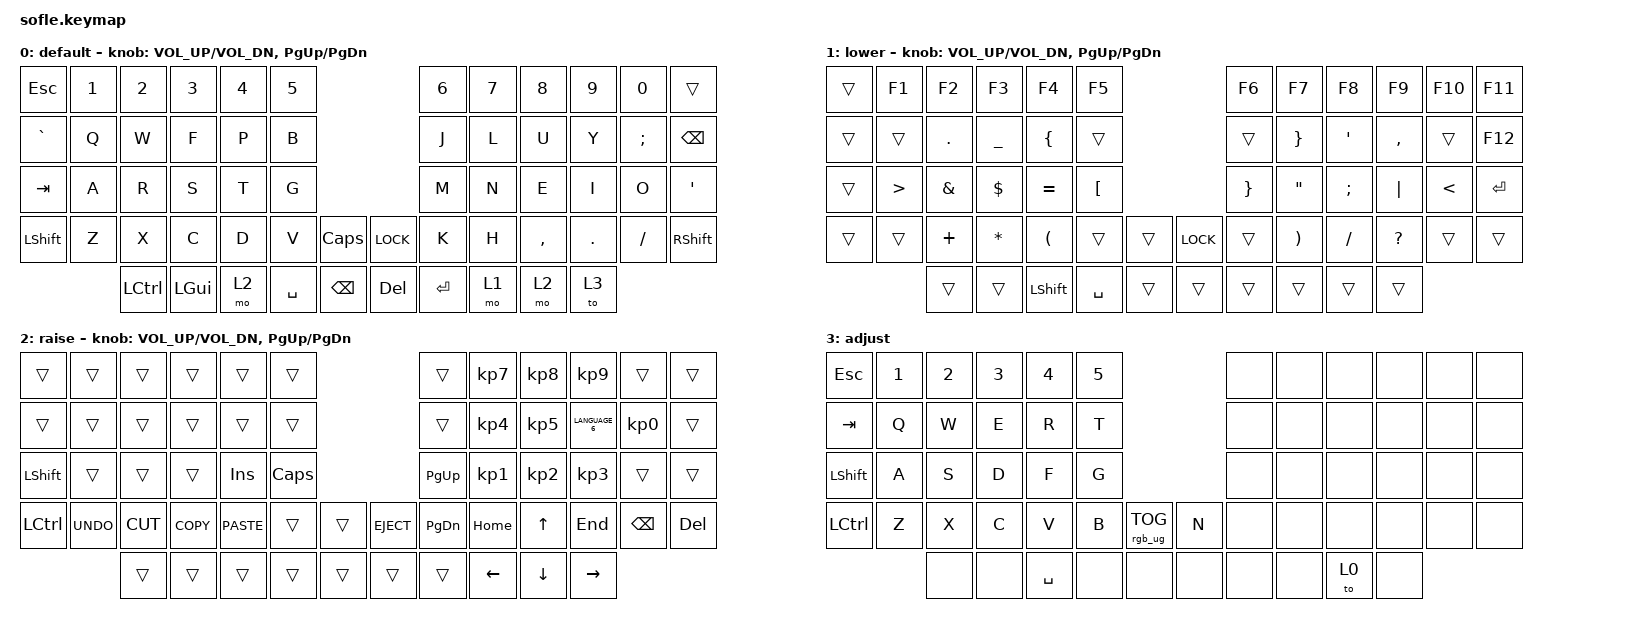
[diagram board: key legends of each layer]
/*
 * Copyright (c) 2020 The ZMK Contributors
 *
 * SPDX-License-Identifier: MIT
 */

#include <behaviors.dtsi>
#include <dt-bindings/zmk/keys.h>
#include <dt-bindings/zmk/rgb.h>

#define BASE 0
#define LOWER 1
#define RAISE 2
#define GAME 3

/ {
    keymap {
        compatible = "zmk,keymap";

        colmakdh {
            display-name = "default";

            // ------------------------------------------------------------------------------------------------------------
            // |   `   |  1  |  2  |  3   |  4   |  5   |                   |  6   |  7    |  8    |  9   |   0   |       |
            // |  ESC  |  Q  |  W  |  E   |  R   |  T   |                   |  Y   |  U    |  I    |  O   |   P   | BKSPC |
            // |  TAB  |  A  |  S  |  D   |  F   |  G   |                   |  H   |  J    |  K    |  L   |   ;   |   '   |
            // | SHIFT |  Z  |  X  |  C   |  V   |  B   |  MUTE  |  |       |  N   |  M    |  ,    |  .   |   /   | SHIFT |
            //               | GUI | ALT  | CTRL | LOWER|  ENTER |  | SPACE | RAISE| CTRL  | ALT   | GUI  |

            bindings = <
&kp ESCAPE      &kp N1  &kp N2     &kp N3    &kp N4  &kp N5                                  &kp N6     &kp N7  &kp N8     &kp N9   &kp N0         &trans
&kp GRAVE       &kp Q   &kp W      &kp F     &kp P   &kp B                                   &kp J      &kp L   &kp U      &kp Y    &kp SEMICOLON  &kp BSPC
&kp TAB         &kp A   &kp R      &kp S     &kp T   &kp G                                   &kp M      &kp N   &kp E      &kp I    &kp O          &kp SQT
&kp LEFT_SHIFT  &kp Z   &kp X      &kp C     &kp D   &kp V      &kp CAPSLOCK     &kp K_LOCK  &kp K      &kp H   &kp COMMA  &kp DOT  &kp FSLH       &kp RSHFT
                        &kp LCTRL  &kp LGUI  &mo 2   &kp SPACE  &kp BACKSPACE    &kp DELETE  &kp ENTER  &mo 1   &mo 2      &to 3
            >;

            sensor-bindings = <&inc_dec_kp C_VOL_UP C_VOL_DN &inc_dec_kp PG_UP PG_DN>;
        };

        prog {
            display-name = "lower";

            // TODO: Some binds are waiting for shifted keycode support.
            // ------------------------------------------------------------------------------------------------------------
            // |       |  F1 |  F2 |  F3  |  F4  |  F5  |                   |  F6  |  F7   |  F8   |  F9  |  F10  |  F11  |
            // |   `   |  1  |  2  |  3   |  4   |  5   |                   |  6   |  7    |  8    |  9   |   0   |  F12  |
            // |       |  !  |  @  |  #   |  $   |  %   |                   |  ^   |  &    |  *    |  (   |   )   |   |   |
            // |       |  =  |  -  |  +   |  {   |  }   |        |  |       |  [   |  ]    |  ;    |  :   |   \   |       |
            //               |     |      |      |      |        |  |       |      |       |       |      |

            bindings = <
&trans  &kp F1            &kp F2         &kp F3          &kp F4                &kp F5                                  &kp F6           &kp F7             &kp F8            &kp F9        &kp F10        &kp F11
&trans  &trans            &kp PERIOD     &kp UNDERSCORE  &kp LEFT_BRACE        &trans                                  &trans           &kp RIGHT_BRACE    &kp SINGLE_QUOTE  &kp COMMA     &trans         &kp F12
&trans  &kp GREATER_THAN  &kp AMPERSAND  &kp DOLLAR      &kp EQUAL             &kp LEFT_BRACKET                        &kp RIGHT_BRACE  &kp DOUBLE_QUOTES  &kp SEMICOLON     &kp PIPE      &kp LESS_THAN  &kp RETURN
&trans  &trans            &kp PLUS       &kp ASTERISK    &kp LEFT_PARENTHESIS  &trans            &trans    &kp K_LOCK  &trans           &kp RPAR           &kp SLASH         &kp QUESTION  &trans         &trans
                          &trans         &trans          &kp LEFT_SHIFT        &kp SPACE         &trans    &trans      &trans           &trans             &trans            &trans
            >;

            sensor-bindings = <&inc_dec_kp C_VOL_UP C_VOL_DN &inc_dec_kp PG_UP PG_DN>;
        };

        functions {
            display-name = "raise";

            // ------------------------------------------------------------------------------------------------------------
            // | BTCLR | BT1  | BT2  |  BT3  |  BT4  |  BT5 |                |      |      |       |      |       |       |
            // |       | INS  | PSCR | GUI   |       |      |                | PGUP |      |   ^   |      |       |       |
            // |       | ALT  | CTRL | SHIFT |       | CAPS |                | PGDN |   <- |   v   |  ->  |  DEL  | BKSPC |
            // |       | UNDO | CUT  | COPY  | PASTE |      |      |  |      |      |      |       |      |       |       |
            //                |      |       |       |      |      |  |      |      |      |       |      |

            bindings = <
&trans          &trans      &trans     &trans      &trans       &trans                           &trans         &kp KP_NUMBER_7  &kp KP_NUMBER_8  &kp KP_NUMBER_9  &trans           &trans
&trans          &trans      &trans     &trans      &trans       &trans                           &trans         &kp KP_NUMBER_4  &kp KP_NUMBER_5  &kp LANGUAGE_6   &kp KP_NUMBER_0  &trans
&kp LEFT_SHIFT  &trans      &trans     &trans      &kp INSERT   &kp CLCK                         &kp PAGE_UP    &kp KP_NUMBER_1  &kp KP_NUMBER_2  &kp KP_NUMBER_3  &trans           &trans
&kp LCTRL       &kp K_UNDO  &kp K_CUT  &kp K_COPY  &kp K_PASTE  &trans    &trans    &kp C_EJECT  &kp PAGE_DOWN  &kp HOME         &kp UP_ARROW     &kp END          &kp BACKSPACE    &kp DEL
                            &trans     &trans      &trans       &trans    &trans    &trans       &trans         &kp LEFT_ARROW   &kp DOWN_ARROW   &kp RIGHT
            >;

            sensor-bindings = <&inc_dec_kp C_VOL_UP C_VOL_DN &inc_dec_kp PG_UP PG_DN>;
        };

        game {
            // ----------------------------------------------------------------------------------------------------------------------------
            // | BTCLR  |  BT1    |  BT2    |   BT3   |   BT4   |   BT5   |                  |      |      |       |      |       |       |
            // | EXTPWR | RGB_HUD | RGB_HUI | RGB_SAD | RGB_SAI | RGB_EFF |                  |      |      |       |      |       |       |
            // |        | RGB_BRD | RGB_BRI |         |         |         |                  |      |      |       |      |       |       |
            // |        |         |         |         |         |         | RGB_TOG | |      |      |      |       |      |       |       |
            //                    |         |         |         |         |         | |      |      |      |       |      |

            display-name = "adjust";
            bindings = <
&kp ESC         &kp NUMBER_1  &kp NUMBER_2  &kp NUMBER_3  &kp NUMBER_4  &kp N5                            &none  &none  &none  &none   &none  &none
&kp TAB         &kp Q         &kp W         &kp E         &kp R         &kp T                             &none  &none  &none  &none   &none  &none
&kp LEFT_SHIFT  &kp A         &kp S         &kp D         &kp F         &kp G                             &none  &none  &none  &none   &none  &none
&kp LCTRL       &kp Z         &kp X         &kp C         &kp V         &kp B   &rgb_ug RGB_TOG    &kp N  &none  &none  &none  &none   &none  &none
                              &none         &none         &kp SPACE     &none   &none              &none  &none  &none  &to 0  &none  
            >;
        };
    };
};
